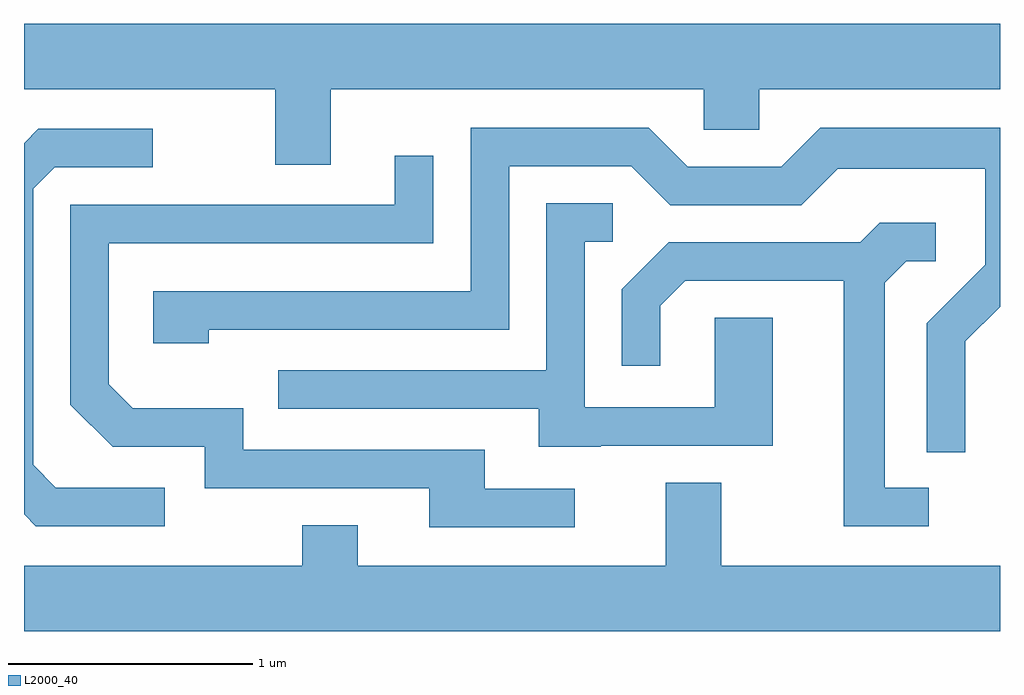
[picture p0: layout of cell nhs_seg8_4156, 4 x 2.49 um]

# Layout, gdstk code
import gdstk
lib = gdstk.Library(unit=1e-6, precision=1e-09)
def P(c, l, *ps):  # polygons
    for p in ps: c.add(gdstk.Polygon(p, *l))
L2000_40 = (2000, 40)

nhs_seg8_4156 = lib.new_cell('nhs_seg8_4156')
P(nhs_seg8_4156, L2000_40, [(310.869,1860.836),(312.396,1860.836),(312.396,1860.671),(312.624,1860.671),(312.624,1860.836),(313.611,1860.836),(313.611,1861.104),(309.611,1861.104),(309.611,1860.836),(310.641,1860.836),(310.641,1860.526),(310.869,1860.526)],
  [(313.469,1859.804),(313.611,1859.946),(313.611,1860.679),(312.874,1860.679),(312.714,1860.519),(312.332,1860.519),(312.172,1860.679),(311.441,1860.679),(311.441,1860.009),(310.141,1860.009),(310.141,1859.796),(310.369,1859.796),(310.369,1859.851),(311.599,1859.851),(311.599,1860.521),(312.099,1860.521),(312.259,1860.361),(312.797,1860.361),(312.947,1860.511),(313.551,1860.511),(313.551,1860.117),(313.311,1859.877),(313.311,1859.348),(313.469,1859.348)],
  [(310.188,1859.204),(309.742,1859.204),(309.649,1859.297),(309.649,1860.429),(309.737,1860.516),(310.138,1860.516),(310.138,1860.674),(309.669,1860.674),(309.611,1860.616),(309.611,1859.094),(309.659,1859.046),(310.188,1859.046)],
  [(311.868,1859.199),(311.499,1859.199),(311.499,1859.359),(310.509,1859.359),(310.509,1859.529),(310.057,1859.529),(309.959,1859.627),(309.959,1860.206),(311.289,1860.206),(311.289,1860.563),(311.131,1860.563),(311.131,1860.364),(309.801,1860.364),(309.801,1859.544),(309.974,1859.371),(310.351,1859.371),(310.351,1859.201),(311.271,1859.201),(311.271,1859.041),(311.868,1859.041)],
  [(311.975,1859.376),(312.679,1859.376),(312.679,1859.899),(312.441,1859.899),(312.441,1859.534),(311.909,1859.534),(311.909,1860.211),(312.023,1860.211),(312.023,1860.369),(311.751,1860.369),(311.751,1859.684),(310.653,1859.684),(310.653,1859.526),(311.721,1859.526),(311.721,1859.371),(311.975,1859.371)],
  [(313.318,1859.204),(313.139,1859.204),(313.139,1860.044),(313.227,1860.131),(313.348,1860.131),(313.348,1860.289),(313.119,1860.289),(313.039,1860.209),(312.254,1860.209),(312.061,1860.017),(312.061,1859.703),(312.219,1859.703),(312.219,1859.949),(312.322,1860.051),(312.971,1860.051),(312.971,1859.046),(313.318,1859.046)],
  [(313.611,1858.884),(312.469,1858.884),(312.469,1859.224),(312.241,1859.224),(312.241,1858.884),(310.979,1858.884),(310.979,1859.049),(310.751,1859.049),(310.751,1858.884),(309.611,1858.884),(309.611,1858.616),(313.611,1858.616)])

lib.write_gds('nhs_seg8_4156.gds')
